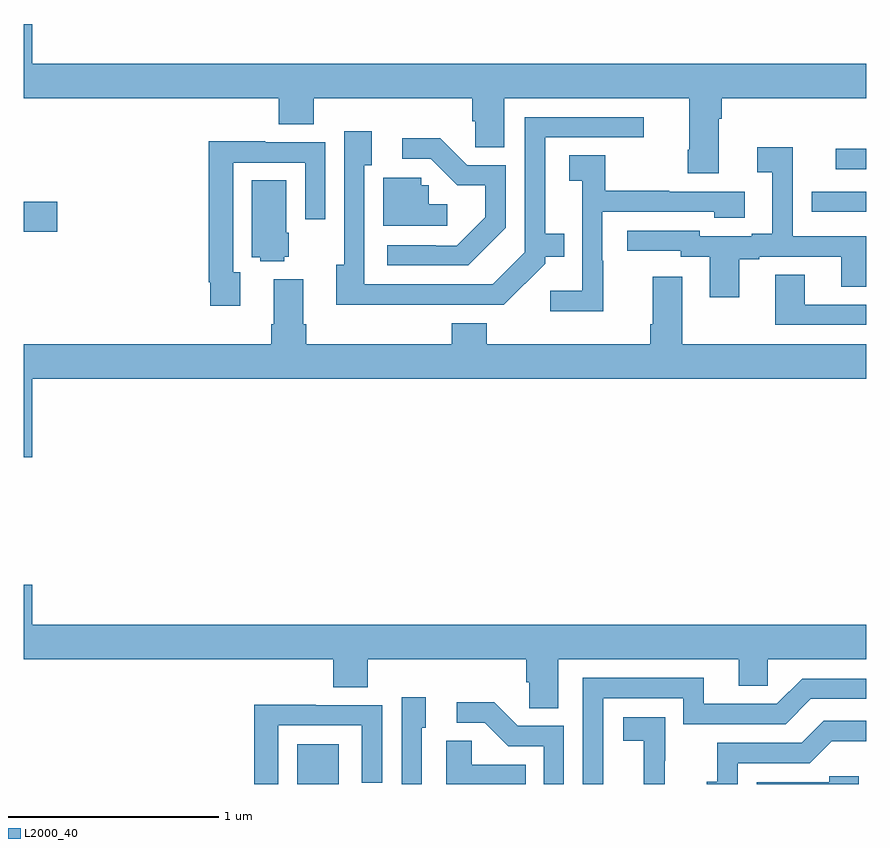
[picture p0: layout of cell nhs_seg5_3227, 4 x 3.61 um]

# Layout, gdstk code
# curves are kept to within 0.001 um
import gdstk
lib = gdstk.Library(unit=1e-6, precision=1e-09)
def R(c, l, rs):  # rectangles x0, y0, x1, y1
    for r in rs: c.add(gdstk.rectangle(r[:2], r[2:], *l))
def P(c, l, *ps):  # polygons
    for p in ps: c.add(gdstk.Polygon(p, *l))
L2000_40 = (2000, 40)

nhs_seg5_3227 = lib.new_cell('nhs_seg5_3227')
R(nhs_seg5_3227, L2000_40, [(298.298,890.799,298.495,890.989), (297,893.423,297.157,893.565), (300.855,893.718,301,893.817)])
P(nhs_seg5_3227, L2000_40, [(300.301,893.96),(300.314,893.96),(300.314,894.056),(301,894.056),(301,894.22),(297.04,894.22),(297.04,894.409),(297,894.409),(297,894.056),(298.211,894.056),(298.211,893.932),(298.376,893.932),(298.376,894.056),(299.129,894.056),(299.129,893.946),(299.143,893.946),(299.143,893.824),(299.281,893.824),(299.281,894.056),(300.161,894.056),(300.161,893.812),(300.154,893.812),(300.154,893.7),(300.301,893.7)],
  [(298.949,893.076),(299.28,893.076),(299.475,893.271),(299.475,893.303),(299.567,893.303),(299.567,893.413),(299.476,893.413),(299.476,893.871),(299.944,893.871),(299.944,893.967),(299.379,893.967),(299.379,893.325),(299.226,893.172),(298.617,893.172),(298.617,893.738),(298.651,893.738),(298.651,893.899),(298.521,893.899),(298.521,893.266),(298.484,893.266),(298.484,893.075)],
  [(299.289,893.441),(299.289,893.739),(299.106,893.739),(298.978,893.867),(298.797,893.867),(298.797,893.769),(298.932,893.769),(299.059,893.642),(299.192,893.642),(299.192,893.492),(299.055,893.355),(298.955,893.355),(298.955,893.358),(298.725,893.358),(298.725,893.262),(299.11,893.262)],
  [(298.027,893.231),(297.993,893.231),(297.993,893.751),(298.335,893.751),(298.335,893.481),(298.431,893.481),(298.431,893.847),(298.147,893.847),(298.147,893.851),(297.877,893.851),(297.877,893.182),(297.885,893.182),(297.885,893.07),(298.027,893.07)],
  [(300.397,893.292),(300.493,893.292),(300.493,893.304),(300.881,893.304),(300.881,893.161),(301,893.161),(301,893.4),(300.651,893.4),(300.651,893.824),(300.483,893.824),(300.483,893.704),(300.554,893.704),(300.554,893.413),(300.458,893.413),(300.458,893.4),(300.21,893.4),(300.21,893.427),(299.865,893.427),(299.865,893.331),(300.12,893.331),(300.12,893.304),(300.257,893.304),(300.257,893.112),(300.397,893.112)],
  [(299.751,893.285),(299.748,893.285),(299.748,893.517),(300.279,893.517),(300.279,893.489),(300.424,893.489),(300.424,893.613),(300.065,893.613),(300.065,893.616),(299.761,893.616),(299.761,893.786),(299.589,893.786),(299.589,893.665),(299.652,893.665),(299.652,893.143),(299.499,893.143),(299.499,893.045),(299.751,893.045)],
  [(299.011,893.554),(298.923,893.554),(298.923,893.643),(298.887,893.643),(298.887,893.679),(298.706,893.679),(298.706,893.451),(299.011,893.451)],
  [(298.236,893.304),(298.258,893.304),(298.258,893.418),(298.246,893.418),(298.246,893.666),(298.082,893.666),(298.082,893.3),(298.122,893.3),(298.122,893.282),(298.236,893.282)],
  [(301,893.613),(300.741,893.613),(300.741,893.518),(300.853,893.518),(300.853,893.517),(301,893.517)],
  [(301,893.076),(300.709,893.076),(300.709,893.219),(300.569,893.219),(300.569,892.98),(301,892.98)],
  [(297.04,892.724),(301,892.724),(301,892.888),(300.127,892.888),(300.127,893.209),(299.987,893.209),(299.987,892.984),(299.975,892.984),(299.975,892.888),(299.198,892.888),(299.198,892.987),(299.033,892.987),(299.033,892.888),(298.34,892.888),(298.34,892.984),(298.327,892.984),(298.327,893.197),(298.187,893.197),(298.187,892.984),(298.175,892.984),(298.175,892.888),(297,892.888),(297,892.35),(297.04,892.35)],
  [(299.539,891.392),(300.395,891.392),(300.395,891.265),(300.534,891.265),(300.534,891.392),(301,891.392),(301,891.556),(297.04,891.556),(297.04,891.745),(297,891.745),(297,891.392),(298.469,891.392),(298.469,891.259),(298.634,891.259),(298.634,891.392),(299.387,891.392),(299.387,891.283),(299.4,891.283),(299.4,891.16),(299.539,891.16)],
  [(299.751,891.207),(300.132,891.207),(300.132,891.084),(300.618,891.084),(300.738,891.204),(301,891.204),(301,891.3),(300.696,891.3),(300.576,891.18),(300.229,891.18),(300.229,891.303),(299.655,891.303),(299.655,890.799),(299.751,890.799)],
  [(298.89,891.066),(298.909,891.066),(298.909,891.211),(298.794,891.211),(298.794,890.799),(298.89,890.799)],
  [(299.565,891.075),(299.346,891.075),(299.233,891.188),(299.055,891.188),(299.055,891.09),(299.189,891.09),(299.3,890.979),(299.469,890.979),(299.469,890.799),(299.565,890.799)],
  [(298.209,891.078),(298.605,891.078),(298.605,890.805),(298.701,890.805),(298.701,891.174),(298.385,891.174),(298.385,891.176),(298.093,891.176),(298.093,890.799),(298.209,890.799)],
  [(300.044,890.909),(300.045,890.909),(300.045,891.115),(299.847,891.115),(299.847,891.005),(299.945,891.005),(299.945,890.799),(300.044,890.799)],
  [(300.39,890.898),(300.732,890.898),(300.836,891.002),(301,891.002),(301,891.099),(300.8,891.099),(300.695,890.994),(300.292,890.994),(300.292,890.809),(300.243,890.809),(300.243,890.799),(300.39,890.799)],
  [(299.384,890.89),(299.127,890.89),(299.127,891.005),(299.006,891.005),(299.006,890.799),(299.384,890.799)],
  [(300.965,890.835),(300.825,890.835),(300.825,890.808),(300.48,890.808),(300.48,890.799),(300.965,890.799)])

lib.write_gds('nhs_seg5_3227.gds')
